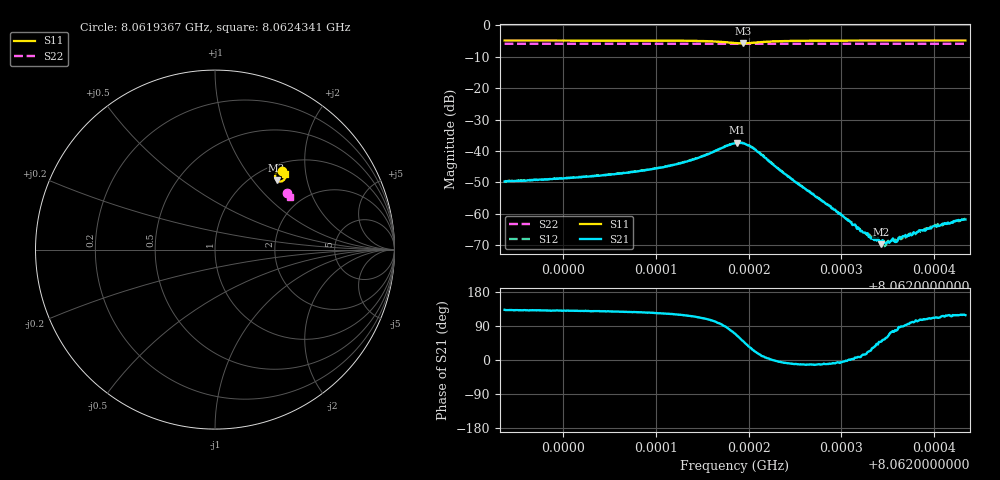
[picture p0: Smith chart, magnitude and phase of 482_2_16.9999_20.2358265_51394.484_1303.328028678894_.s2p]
#  HZ  S  RI  R  50.00
! Rohde & Schwarz Vector Network Analyzer
! Rohde-Schwarz,ZNB20-2Port,1311601062101988,3.16
! Created: UTC 3/20/2024, 11:13:43 PM
! freq[Hz]  re:S11  im:S11  re:S21  im:S21  re:S12  im:S12  re:S22  im:S22
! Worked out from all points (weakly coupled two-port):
!   401 points, 8.0619367 GHz to 8.0624341 GHz, reference 50 ohm
!   highest |S21| = -37.34 dB at 8.0621878 GHz (marker M1); lowest = -69.6 dB at 8.0623433 GHz (marker M2)
!   lowest |S11| = -5.7 dB at 8.0621941 GHz (marker M3), VSWR 3.14, Z = 63 + j66.6 ohm
!   |S11| at or under -10 dB: nowhere
!   |S22| runs from -5.9 to -5.8 dB; largest |S21 - S12| = 0.00097
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8.06193666e9  0.3729 0.4392  -0.00221 0.00241  -0.00207 0.00264  0.4016 0.3152
8.06201998e9  0.3792 0.4331  -0.00246 0.00297  -0.00229 0.00315  0.4047 0.3108
8.06206225e9  0.383 0.429  -0.00268 0.0035  -0.00248 0.00368  0.4062 0.3085
8.06210329e9  0.387 0.4228  -0.00296 0.00452  -0.00273 0.00473  0.4077 0.3063
8.06214308e9  0.391 0.4102  -0.00307 0.00689  -0.00266 0.00715  0.4091 0.3037
8.06218536e9  0.3616 0.3791  0.00462 0.0125  0.00552 0.0122  0.4089 0.3008
8.06218784e9  0.3558 0.3799  0.00603 0.0122  0.0066 0.0119  0.4087 0.3008
8.06219406e9  0.3429 0.3871  0.00853 0.0102  0.00931 0.00976  0.4084 0.3011
8.0622065e9  0.3351 0.4125  0.00982 0.00417  0.0102 0.0037  0.4087 0.3017
8.06224007e9  0.3599 0.4355  0.00419 -0.000563  0.00422 -0.000821  0.4113 0.3008
8.06226867e9  0.3709 0.4345  0.00204 -0.000444  0.00204 -0.000552  0.4127 0.2991
8.06229354e9  0.3764 0.4327  0.00115 -0.000172  0.00116 -0.000258  0.4138 0.2979
8.06231841e9  0.3802 0.4309  0.000601 8.93e-05  0.000599 1.59e-05  0.4149 0.2965
8.06233209e9  0.3821 0.4298  0.000365 0.000173  0.000386 0.000137  0.4152 0.2957
8.06234328e9  0.3832 0.429  0.00022 0.000247  0.00026 0.000253  0.4157 0.2953
8.06234701e9  0.3837 0.4287  0.000198 0.000283  0.000176 0.000251  0.4159 0.2949
8.06235198e9  0.3841 0.4283  0.000127 0.000323  0.000165 0.000297  0.4161 0.2948
8.06235944e9  0.385 0.4278  7.72e-05 0.000349  7.49e-05 0.000369  0.4163 0.2942
8.06236691e9  0.3857 0.4273  8.91e-06 0.000444  5.46e-05 0.000378  0.4166 0.2938
8.06237437e9  0.3864 0.4268  -6.95e-05 0.000473  -3.13e-05 0.000482  0.4168 0.2936
8.06240048e9  0.3887 0.4252  -0.000233 0.000604  -0.000195 0.000596  0.4178 0.2921
8.06243405e9  0.3912 0.423  -0.000387 0.000718  -0.000381 0.000747  0.419 0.2903
